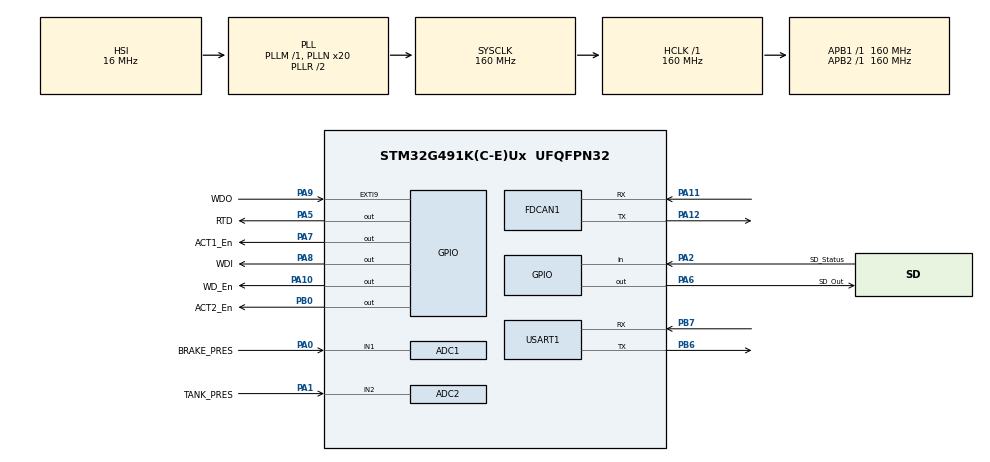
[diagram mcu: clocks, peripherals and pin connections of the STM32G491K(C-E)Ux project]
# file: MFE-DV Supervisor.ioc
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ADC1.Channel-0\#ChannelRegularConversion=ADC_CHANNEL_1
ADC1.ContinuousConvMode=DISABLE
ADC1.DMAContinuousRequests=ENABLE
ADC1.ExternalTrigConv=ADC_EXTERNALTRIG_T7_TRGO
ADC1.NbrOfConversion=1
ADC1.NbrOfConversionFlag=1
ADC1.OffsetNumber-0\#ChannelRegularConversion=ADC_OFFSET_NONE
ADC1.Overrun=ADC_OVR_DATA_OVERWRITTEN
ADC1.Rank-0\#ChannelRegularConversion=1
ADC1.SamplingTime-0\#ChannelRegularConversion=ADC_SAMPLETIME_640CYCLES_5
ADC1.master=1
ADC2.Channel-0\#ChannelRegularConversion=ADC_CHANNEL_2
ADC2.ContinuousConvMode=DISABLE
ADC2.DMAContinuousRequests=ENABLE
ADC2.ExternalTrigConv=ADC_EXTERNALTRIG_T7_TRGO
ADC2.NbrOfConversionFlag=1
ADC2.OffsetNumber-0\#ChannelRegularConversion=ADC_OFFSET_NONE
ADC2.Overrun=ADC_OVR_DATA_OVERWRITTEN
ADC2.Rank-0\#ChannelRegularConversion=1
ADC2.SamplingTime-0\#ChannelRegularConversion=ADC_SAMPLETIME_640CYCLES_5
Dma.ADC1.1.Direction=DMA_PERIPH_TO_MEMORY
Dma.ADC1.1.EventEnable=DISABLE
Dma.ADC1.1.Instance=DMA1_Channel2
Dma.ADC1.1.MemDataAlignment=DMA_MDATAALIGN_HALFWORD
Dma.ADC1.1.MemInc=DMA_MINC_DISABLE
Dma.ADC1.1.Mode=DMA_CIRCULAR
Dma.ADC1.1.PeriphDataAlignment=DMA_PDATAALIGN_HALFWORD
Dma.ADC1.1.PeriphInc=DMA_PINC_DISABLE
Dma.ADC1.1.Polarity=HAL_DMAMUX_REQ_GEN_RISING
Dma.ADC1.1.Priority=DMA_PRIORITY_LOW
Dma.ADC1.1.RequestNumber=1
Dma.ADC1.1.SignalID=NONE
Dma.ADC1.1.SyncEnable=DISABLE
Dma.ADC1.1.SyncPolarity=HAL_DMAMUX_SYNC_NO_EVENT
Dma.ADC1.1.SyncRequestNumber=1
Dma.ADC1.1.SyncSignalID=NONE
Dma.ADC2.2.Direction=DMA_PERIPH_TO_MEMORY
Dma.ADC2.2.EventEnable=DISABLE
Dma.ADC2.2.Instance=DMA1_Channel3
Dma.ADC2.2.MemDataAlignment=DMA_MDATAALIGN_HALFWORD
Dma.ADC2.2.MemInc=DMA_MINC_DISABLE
Dma.ADC2.2.Mode=DMA_CIRCULAR
Dma.ADC2.2.PeriphDataAlignment=DMA_PDATAALIGN_HALFWORD
Dma.ADC2.2.PeriphInc=DMA_PINC_DISABLE
Dma.ADC2.2.Polarity=HAL_DMAMUX_REQ_GEN_RISING
Dma.ADC2.2.Priority=DMA_PRIORITY_LOW
Dma.ADC2.2.RequestNumber=1
Dma.ADC2.2.SignalID=NONE
Dma.ADC2.2.SyncEnable=DISABLE
Dma.ADC2.2.SyncPolarity=HAL_DMAMUX_SYNC_NO_EVENT
Dma.ADC2.2.SyncRequestNumber=1
Dma.ADC2.2.SyncSignalID=NONE
Dma.Request0=USART1_TX
Dma.Request1=ADC1
Dma.Request2=ADC2
Dma.USART1_TX.0.Direction=DMA_MEMORY_TO_PERIPH
Dma.USART1_TX.0.EventEnable=DISABLE
Dma.USART1_TX.0.Instance=DMA1_Channel1
Dma.USART1_TX.0.MemDataAlignment=DMA_MDATAALIGN_BYTE
Dma.USART1_TX.0.MemInc=DMA_MINC_ENABLE
Dma.USART1_TX.0.Mode=DMA_NORMAL
Dma.USART1_TX.0.PeriphDataAlignment=DMA_PDATAALIGN_BYTE
Dma.USART1_TX.0.PeriphInc=DMA_PINC_DISABLE
Dma.USART1_TX.0.Polarity=HAL_DMAMUX_REQ_GEN_RISING
Dma.USART1_TX.0.Priority=DMA_PRIORITY_LOW
Dma.USART1_TX.0.RequestNumber=1
Dma.USART1_TX.0.SignalID=NONE
Dma.USART1_TX.0.SyncEnable=DISABLE
Dma.USART1_TX.0.SyncPolarity=HAL_DMAMUX_SYNC_NO_EVENT
Dma.USART1_TX.0.SyncRequestNumber=1
Dma.USART1_TX.0.SyncSignalID=NONE
FDCAN1.CalculateBaudRateNominal=500000
FDCAN1.CalculateTimeBitNominal=2000
FDCAN1.CalculateTimeQuantumNominal=500.0
FDCAN1.NominalPrescaler=80
FDCAN1.NominalTimeSeg1=1
FDCAN1.NominalTimeSeg2=2
FDCAN1.StdFiltersNbr=1
FREERTOS.Tasks01=monitorEBSTask,24,128,monitorEBS,Default,NULL,Dynamic,NULL,NULL;monitorWDTask,40,128,monitorWD,Default,NULL,Dynamic,NULL,NULL;transmitCANTask,8,128,transmitCAN,Default,NULL,Dynamic,NULL,NULL
FREERTOS.configGENERATE_RUN_TIME_STATS=1
Mcu.Family=STM32G4
Mcu.Name=STM32G491K(C-E)Ux
Mcu.Package=UFQFPN32
NVIC.DMA1_Channel1_IRQn=true\:5\:0\:false\:false\:true\:true\:false\:true\:true
NVIC.DMA1_Channel2_IRQn=true\:5\:0\:false\:false\:true\:true\:false\:true\:true
NVIC.DMA1_Channel3_IRQn=true\:5\:0\:false\:false\:true\:true\:false\:true\:true
NVIC.EXTI9_5_IRQn=true\:5\:0\:false\:false\:true\:true\:true\:true\:true
NVIC.FDCAN1_IT0_IRQn=true\:5\:0\:false\:false\:true\:true\:true\:true\:true
NVIC.PriorityGroup=NVIC_PRIORITYGROUP_4
NVIC.TIM6_DAC_IRQn=true\:15\:0\:false\:false\:true\:false\:false\:true\:true
NVIC.TimeBase=TIM6_DAC_IRQn
NVIC.TimeBaseIP=TIM6
NVIC.USART1_IRQn=true\:5\:0\:false\:false\:true\:true\:true\:true\:true
PA0.GPIO_Label=BRAKE_PRES
PA0.Mode=IN1-Single-Ended
PA0.Signal=ADC1_IN1
PA1.GPIO_Label=TANK_PRES
PA1.Mode=IN2-Single-Ended
PA1.Signal=ADC2_IN2
PA10.GPIO_Label=WD_En
PA10.Signal=GPIO_Output
PA11.Mode=FDCAN_Activate
PA11.Signal=FDCAN1_RX
PA12.Mode=FDCAN_Activate
PA12.Signal=FDCAN1_TX
PA13.Mode=Serial_Wire
PA13.Signal=SYS_JTMS-SWDIO
PA14.Mode=Serial_Wire
PA14.Signal=SYS_JTCK-SWCLK
PA2.GPIO_Label=SD_Status
PA2.Signal=GPIO_Input
PA5.GPIO_Label=RTD
PA5.Signal=GPIO_Output
PA6.GPIO_Label=SD_Out
PA6.Signal=GPIO_Output
PA7.GPIO_Label=ACT1_En
PA7.Signal=GPIO_Output
PA8.GPIO_Label=WDI
PA8.Signal=GPIO_Output
PA9.GPIO_Label=WDO
PA9.GPIO_ModeDefaultEXTI=GPIO_MODE_IT_FALLING
PA9.Signal=GPXTI9
PB0.GPIO_Label=ACT2_En
PB0.Signal=GPIO_Output
PB6.Mode=Asynchronous
PB6.Signal=USART1_TX
PB7.Mode=Asynchronous
PB7.Signal=USART1_RX
ProjectManager.HeapSize=0x200
ProjectManager.StackSize=0x400
ProjectManager.TargetToolchain=STM32CubeIDE
RCC.ADC12Freq_Value=160000000
RCC.ADC345Freq_Value=160000000
RCC.AHBFreq_Value=160000000
RCC.APB1Freq_Value=160000000
RCC.APB1TimFreq_Value=160000000
RCC.APB2Freq_Value=160000000
RCC.APB2TimFreq_Value=160000000
RCC.CortexFreq_Value=160000000
RCC.EXTERNAL_CLOCK_VALUE=12288000
RCC.HCLKFreq_Value=160000000
RCC.HSE_VALUE=8000000
RCC.HSI48_VALUE=48000000
RCC.HSI_VALUE=16000000
RCC.LSE_VALUE=32768
RCC.PLLN=20
RCC.SYSCLKFreq_VALUE=160000000
RCC.SYSCLKSource=RCC_SYSCLKSOURCE_PLLCLK
RCC.VCOOutputFreq_Value=320000000
TIM7.AutoReloadPreload=TIM_AUTORELOAD_PRELOAD_ENABLE
TIM7.PeriodNoDither=999
TIM7.Prescaler=159
TIM7.TIM_MasterOutputTrigger=TIM_TRGO_UPDATE
USART1.VirtualMode-Asynchronous=VM_ASYNC
VP_FREERTOS_VS_CMSIS_V2.Mode=CMSIS_V2
VP_SYS_VS_DBSignals.Mode=DisableDeadBatterySignals
VP_SYS_VS_tim6.Mode=TIM6
VP_TIM7_VS_ClockSourceINT.Mode=Enable_Timer
board=custom

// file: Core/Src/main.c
/* USER CODE BEGIN Header */
/**
  ******************************************************************************
  * @file           : main.c
  * @brief          : Main program body
  ******************************************************************************
  * @attention
  *
  * Copyright (c) 2026 STMicroelectronics.
  * All rights reserved.
  *
  * This software is licensed under terms that can be found in the LICENSE file
  * in the root directory of this software component.
  * If no LICENSE file comes with this software, it is provided AS-IS.
  *
  ******************************************************************************
  */
/* USER CODE END Header */
#include "main.h"
#include "cmsis_os.h"
#include "adc.h"
#include "dma.h"
#include "fdcan.h"
#include "tim.h"
#include "usart.h"
#include "gpio.h"

/* USER CODE BEGIN Includes */
#include "globals.h"
#include "stdio.h"
/* USER CODE END Includes */

void SystemClock_Config(void);
void MX_FREERTOS_Init(void);

int main(void)
{

  /* MCU Configuration--------------------------------------------------------*/

  /* Reset of all peripherals, Initializes the Flash interface and the Systick. */
  HAL_Init();

  /* Configure the system clock */
  SystemClock_Config();

  /* Initialize all configured peripherals */
  MX_GPIO_Init();
  MX_DMA_Init();
  MX_ADC1_Init();
  MX_ADC2_Init();
  MX_FDCAN1_Init();
  MX_USART1_UART_Init();
  MX_TIM7_Init();
  /* USER CODE BEGIN 2 */

  /* BOARD INITIALIZATION */
  HAL_GPIO_WritePin(SD_Out_GPIO_Port, SD_Out_Pin, GPIO_PIN_SET); // clear shutdown error
  HAL_GPIO_WritePin(RTD_GPIO_Port, RTD_Pin, GPIO_PIN_SET);
  HAL_GPIO_WritePin(WD_En_GPIO_Port, WD_En_Pin, GPIO_PIN_RESET); // enable watchdog

  HAL_ADC_Start_DMA(&hadc1, (uint32_t *)&g_brakeAdcLatest, 1);
  HAL_ADC_Start_DMA(&hadc2, (uint32_t *)&g_tankAdcLatest, 1);
  HAL_TIM_Base_Start(&htim7);
  /* USER CODE END 2 */

  /* Init scheduler */
  osKernelInitialize();  /* Call init function for freertos objects (in cmsis_os2.c) */
  MX_FREERTOS_Init();

  /* Start scheduler */
  osKernelStart();

  /* We should never get here as control is now taken by the scheduler */

  /* Infinite loop */
  while (1)
  {

  }
}

void SystemClock_Config(void)
{
  RCC_OscInitTypeDef RCC_OscInitStruct = {0};
  RCC_ClkInitTypeDef RCC_ClkInitStruct = {0};

  /** Configure the main internal regulator output voltage
  */
  HAL_PWREx_ControlVoltageScaling(PWR_REGULATOR_VOLTAGE_SCALE1_BOOST);

  /** Initializes the RCC Oscillators according to the specified parameters
  * in the RCC_OscInitTypeDef structure.
  */
  RCC_OscInitStruct.OscillatorType = RCC_OSCILLATORTYPE_HSI;
  RCC_OscInitStruct.HSIState = RCC_HSI_ON;
  RCC_OscInitStruct.HSICalibrationValue = RCC_HSICALIBRATION_DEFAULT;
  RCC_OscInitStruct.PLL.PLLState = RCC_PLL_ON;
  RCC_OscInitStruct.PLL.PLLSource = RCC_PLLSOURCE_HSI;
  RCC_OscInitStruct.PLL.PLLM = RCC_PLLM_DIV1;
  RCC_OscInitStruct.PLL.PLLN = 20;
  RCC_OscInitStruct.PLL.PLLP = RCC_PLLP_DIV2;
  RCC_OscInitStruct.PLL.PLLQ = RCC_PLLQ_DIV2;
  RCC_OscInitStruct.PLL.PLLR = RCC_PLLR_DIV2;
  if (HAL_RCC_OscConfig(&RCC_OscInitStruct) != HAL_OK)
  {
    Error_Handler();
  }

  /** Initializes the CPU, AHB and APB buses clocks
  */
  RCC_ClkInitStruct.ClockType = RCC_CLOCKTYPE_HCLK|RCC_CLOCKTYPE_SYSCLK
                              |RCC_CLOCKTYPE_PCLK1|RCC_CLOCKTYPE_PCLK2;
  RCC_ClkInitStruct.SYSCLKSource = RCC_SYSCLKSOURCE_PLLCLK;
  RCC_ClkInitStruct.AHBCLKDivider = RCC_SYSCLK_DIV1;
  RCC_ClkInitStruct.APB1CLKDivider = RCC_HCLK_DIV1;
  RCC_ClkInitStruct.APB2CLKDivider = RCC_HCLK_DIV1;

  if (HAL_RCC_ClockConfig(&RCC_ClkInitStruct, FLASH_LATENCY_4) != HAL_OK)
  {
    Error_Handler();
  }
}

/* USER CODE BEGIN 4 */
void checkErrors() {
    uint8_t errorActive = (g_canErrorLatched || g_adcErrorActive);

    if (errorActive) {
        HAL_GPIO_WritePin(RTD_GPIO_Port, RTD_Pin, GPIO_PIN_RESET);
        HAL_GPIO_WritePin(SD_Out_GPIO_Port, SD_Out_Pin, GPIO_PIN_RESET);
        HAL_GPIO_WritePin(ACT1_En_GPIO_Port, ACT1_En_Pin, GPIO_PIN_SET);
        HAL_GPIO_WritePin(ACT2_En_GPIO_Port, ACT2_En_Pin, GPIO_PIN_SET);
    } else {
        HAL_GPIO_WritePin(RTD_GPIO_Port, RTD_Pin, GPIO_PIN_SET);
        HAL_GPIO_WritePin(SD_Out_GPIO_Port, SD_Out_Pin, GPIO_PIN_SET);
        HAL_GPIO_WritePin(ACT1_En_GPIO_Port, ACT1_En_Pin, GPIO_PIN_RESET);
        HAL_GPIO_WritePin(ACT2_En_GPIO_Port, ACT2_En_Pin, GPIO_PIN_RESET);
    }
}

void HAL_GPIO_EXTI_Callback(uint16_t GPIO_Pin) {
	// Interrupt handler when watchdog WDO goes low, log it and reset board.
	if (GPIO_Pin == WDO_Pin) {
		char pBuf[64];
		int len = sprintf(pBuf, "Watchdog Timeout");
		HAL_UART_Transmit(&huart1, (uint8_t*)pBuf, len, 100);
		HAL_NVIC_SystemReset();
	} else {
		return;
	}
}

void HAL_FDCAN_RxFifo0Callback(FDCAN_HandleTypeDef *hfdcan, uint32_t RxFifo0ITs)
{
	if ((hfdcan != &hfdcan1) || ((RxFifo0ITs & FDCAN_IT_RX_FIFO0_NEW_MESSAGE) == 0U)) {
		return;
	}

	FDCAN_RxHeaderTypeDef rxHeader = {0};
	uint8_t rxData[8] = {0};

	if (HAL_FDCAN_GetRxMessage(hfdcan, FDCAN_RX_FIFO0, &rxHeader, rxData) != HAL_OK) {
		return;
	}

	if ((rxHeader.IdType == FDCAN_STANDARD_ID) && (rxHeader.Identifier == 0x02U)) {
		g_canErrorLatched = 1;
		checkErrors();
	}
	if ((rxHeader.IdType == FDCAN_STANDARD_ID) && (rxHeader.Identifier == 0x03U)) {
		g_canErrorLatched = 0;
		checkErrors();
	}
}

void HAL_UART_TxCpltCallback(UART_HandleTypeDef *huart)
{
    if (huart == &huart1) {
        g_uartTxBusy = 0;
    }
}
/* USER CODE END 4 */

void HAL_TIM_PeriodElapsedCallback(TIM_HandleTypeDef *htim)
{
  if (htim->Instance == TIM6)
  {
    HAL_IncTick();
  }
}

void Error_Handler(void)
{
  __disable_irq();
  while (1)
  {
  }
}

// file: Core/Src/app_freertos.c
/* USER CODE BEGIN Header */
/**
  ******************************************************************************
  * File Name          : app_freertos.c
  * Description        : Code for freertos applications
  ******************************************************************************
  * @attention
  *
  * Copyright (c) 2026 STMicroelectronics.
  * All rights reserved.
  *
  * This software is licensed under terms that can be found in the LICENSE file
  * in the root directory of this software component.
  * If no LICENSE file comes with this software, it is provided AS-IS.
  *
  ******************************************************************************
  */
/* USER CODE END Header */

#include "FreeRTOS.h"
#include "task.h"
#include "main.h"
#include "cmsis_os.h"

/* USER CODE BEGIN Includes */
#include "usart.h"
#include "gpio.h"
#include "adc.h"
#include "fdcan.h"

#include "globals.h"

#include <stdio.h>
/* USER CODE END Includes */

/* USER CODE BEGIN PD */
#define BRAKE_OK_THRESHOLD 1300
#define TANK_OK_THRESHOLD 1300
/* USER CODE END PD */

/* Definitions for monitorEBSTask */
osThreadId_t monitorEBSTaskHandle;
const osThreadAttr_t monitorEBSTask_attributes = {
  .name = "monitorEBSTask",
  .priority = (osPriority_t) osPriorityNormal,
  .stack_size = 128 * 4
};
/* Definitions for monitorWDTask */
osThreadId_t monitorWDTaskHandle;
const osThreadAttr_t monitorWDTask_attributes = {
  .name = "monitorWDTask",
  .priority = (osPriority_t) osPriorityHigh,
  .stack_size = 128 * 4
};
/* Definitions for transmitCANTask */
osThreadId_t transmitCANTaskHandle;
const osThreadAttr_t transmitCANTask_attributes = {
  .name = "transmitCANTask",
  .priority = (osPriority_t) osPriorityLow,
  .stack_size = 128 * 4
};

void monitorEBS(void *argument);
void monitorWD(void *argument);
void transmitCAN(void *argument);

void MX_FREERTOS_Init(void); /* (MISRA C 2004 rule 8.1) */

/* Hook prototypes */
void configureTimerForRunTimeStats(void);
unsigned long getRunTimeCounterValue(void);

/* USER CODE BEGIN 1 */
/* Functions needed when configGENERATE_RUN_TIME_STATS is on */
__weak void configureTimerForRunTimeStats(void)
{

}

__weak unsigned long getRunTimeCounterValue(void)
{
return 0;
}
/* USER CODE END 1 */

void MX_FREERTOS_Init(void) {

  /* Create the thread(s) */
  /* creation of monitorEBSTask */
  monitorEBSTaskHandle = osThreadNew(monitorEBS, NULL, &monitorEBSTask_attributes);

  /* creation of monitorWDTask */
  monitorWDTaskHandle = osThreadNew(monitorWD, NULL, &monitorWDTask_attributes);

  /* creation of transmitCANTask */
  transmitCANTaskHandle = osThreadNew(transmitCAN, NULL, &transmitCANTask_attributes);

}

void monitorEBS(void *argument)
{
  /* USER CODE BEGIN monitorEBS */
  static uint16_t writeIndex = 0;
  static uint16_t sampleCount = 0;
  static uint32_t brakeRunningSum = 0;
  static uint32_t tankRunningSum = 0;
  /* Infinite loop */
  for(;;)
  {

	if (sampleCount < ROLLING_WINDOW_SIZE) sampleCount++;
	else {
		brakeRunningSum -= g_brakeWindow[writeIndex];
		tankRunningSum -= g_tankWindow[writeIndex];
	}

	uint16_t brake = g_brakeAdcLatest;
	uint16_t tank = g_tankAdcLatest;

	g_brakeWindow[writeIndex] = brake;
	g_tankWindow[writeIndex] = tank;

	brakeRunningSum += brake;
	tankRunningSum += tank;

	writeIndex = (writeIndex + 1) % ROLLING_WINDOW_SIZE;

    g_brakeAvg = (uint16_t)(brakeRunningSum / sampleCount);
    g_tankAvg = (uint16_t)(tankRunningSum / sampleCount);

    g_adcErrorActive = (g_brakeAvg < BRAKE_OK_THRESHOLD || g_tankAvg < TANK_OK_THRESHOLD) ? 1U : 0U;
    checkErrors();

    if (!g_uartTxBusy) {
    	int len = snprintf((char*)g_uartTxBuf, UART_TX_SIZE,
    	        "P:%4u(%d) E:%4u(%d) | TS:%d | WDO:%d WDI:%d EN:%d | RTD:%d SDC:%d A1:%d A2:%d\r\n",
				g_brakeAvg, 1,
				g_tankAvg,   1,
    	        1,
    	        1, 1, 1,
    	        1, 1, 1, 1
    	    );
    	if (len > 0 && len < UART_TX_SIZE) {
    	    g_uartTxBusy = 1;
    	    if (HAL_UART_Transmit_DMA(&huart1, g_uartTxBuf, (uint16_t)len) != HAL_OK) {
    	        g_uartTxBusy = 0;
    	    }
    	}
    }
    osDelay(1);
  }
  /* USER CODE END monitorEBS */
}

void monitorWD(void *argument)
{
  /* USER CODE BEGIN monitorWD */
  /* Infinite loop */
  for(;;)
  {
	HAL_GPIO_TogglePin(WDI_GPIO_Port, WDI_Pin);
    osDelay(500);
  }
  /* USER CODE END monitorWD */
}

void transmitCAN(void *argument)
{
  /* USER CODE BEGIN transmitCAN */
  FDCAN_TxHeaderTypeDef txHeader = {0};
  uint8_t txData[8] = {0};

  txHeader.Identifier = 0x01;
  txHeader.IdType = FDCAN_STANDARD_ID;
  txHeader.TxFrameType = FDCAN_DATA_FRAME;
  txHeader.DataLength = FDCAN_DLC_BYTES_8;
  txHeader.ErrorStateIndicator = FDCAN_ESI_ACTIVE;
  txHeader.BitRateSwitch = FDCAN_BRS_OFF;
  txHeader.FDFormat = FDCAN_CLASSIC_CAN;
  txHeader.TxEventFifoControl = FDCAN_NO_TX_EVENTS;
  txHeader.MessageMarker = 0;

  if (HAL_FDCAN_Start(&hfdcan1) != HAL_OK) {
	Error_Handler();
  }
  if (HAL_FDCAN_ActivateNotification(&hfdcan1, FDCAN_IT_RX_FIFO0_NEW_MESSAGE, 0) != HAL_OK) {
	Error_Handler();
  }
  /* Infinite loop */
  for(;;)
  {
	  txData[0] = (uint8_t)HAL_GPIO_ReadPin(SD_Status_GPIO_Port, SD_Status_Pin);
	  txData[1] = (uint8_t)(
	  		((uint8_t)HAL_GPIO_ReadPin(ACT1_En_GPIO_Port, ACT1_En_Pin) & 0x01U) |
	  		((((uint8_t)HAL_GPIO_ReadPin(ACT2_En_GPIO_Port, ACT2_En_Pin) & 0x01U) << 1U))
	  );

	  txData[2] = (uint8_t)(g_brakeAvg & 0xFFU);
	  txData[3] = (uint8_t)((g_brakeAvg >> 8U) & 0xFFU);
	  txData[4] = (uint8_t)(g_tankAvg & 0xFFU);
	  txData[5] = (uint8_t)((g_tankAvg >> 8U) & 0xFFU);

	  txData[6] = (uint8_t)HAL_GPIO_ReadPin(RTD_GPIO_Port, RTD_Pin);

	  if (HAL_FDCAN_AddMessageToTxFifoQ(&hfdcan1, &txHeader, txData) != HAL_OK) {
	  	Error_Handler();
	  }

	  osDelay(10);
  }
  /* USER CODE END transmitCAN */
}
